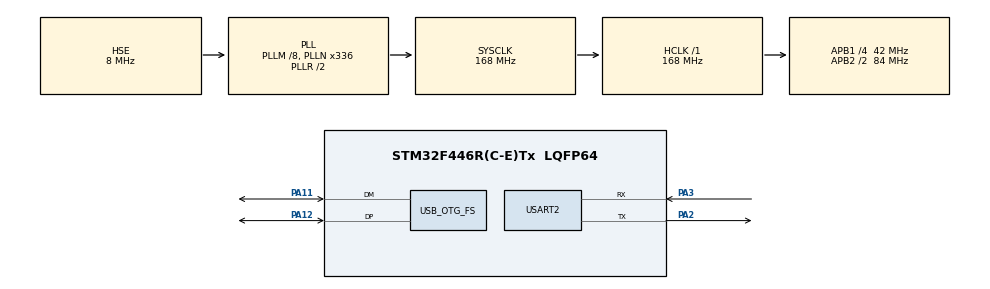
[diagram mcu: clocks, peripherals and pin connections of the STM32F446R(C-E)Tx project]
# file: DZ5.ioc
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Mcu.Family=STM32F4
Mcu.Name=STM32F446R(C-E)Tx
Mcu.Package=LQFP64
NVIC.OTG_FS_IRQn=true\:0\:0\:false\:false\:true\:false\:true\:true
NVIC.PriorityGroup=NVIC_PRIORITYGROUP_4
NVIC.USART2_IRQn=true\:0\:0\:false\:false\:true\:true\:true\:true
PA11.Mode=Device_Only
PA11.Signal=USB_OTG_FS_DM
PA12.Mode=Device_Only
PA12.Signal=USB_OTG_FS_DP
PA13.Mode=Serial_Wire
PA13.Signal=SYS_JTMS-SWDIO
PA14.Mode=Serial_Wire
PA14.Signal=SYS_JTCK-SWCLK
PA2.Mode=Asynchronous
PA2.Signal=USART2_TX
PA3.Mode=Asynchronous
PA3.Signal=USART2_RX
PH0-OSC_IN.Mode=HSE-External-Clock-Source
PH0-OSC_IN.Signal=RCC_OSC_IN
PH1-OSC_OUT.Mode=HSE-External-Clock-Source
PH1-OSC_OUT.Signal=RCC_OSC_OUT
ProjectManager.HeapSize=0x200
ProjectManager.StackSize=0x400
ProjectManager.TargetToolchain=STM32CubeIDE
RCC.AHBFreq_Value=168000000
RCC.APB1CLKDivider=RCC_HCLK_DIV4
RCC.APB1Freq_Value=42000000
RCC.APB1TimFreq_Value=84000000
RCC.APB2CLKDivider=RCC_HCLK_DIV2
RCC.APB2Freq_Value=84000000
RCC.APB2TimFreq_Value=168000000
RCC.CortexFreq_Value=168000000
RCC.HCLKFreq_Value=168000000
RCC.HSE_VALUE=8000000
RCC.PLLM=8
RCC.PLLN=336
RCC.PLLQ=7
RCC.PLLSourceVirtual=RCC_PLLSOURCE_HSE
RCC.SYSCLKFreq_VALUE=168000000
RCC.SYSCLKSource=RCC_SYSCLKSOURCE_PLLRCLK
RCC.USBFreq_Value=48000000
RCC.VCOOutputFreq_Value=336000000
USART2.VirtualMode=VM_ASYNC
USB_DEVICE.CLASS_NAME_FS=CDC
USB_DEVICE.MANUFACTURER_STRING-CDC_FS=Nechitaylov Labs
USB_DEVICE.PID_CDC_FS=1488
USB_DEVICE.VirtualMode-CDC_FS=Cdc
USB_DEVICE.VirtualModeFS=Cdc_FS
USB_OTG_FS.VirtualMode=Device_Only
VP_USB_DEVICE_VS_USB_DEVICE_CDC_FS.Mode=CDC_FS
board=custom

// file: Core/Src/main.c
/* USER CODE BEGIN Header */
/**
  ******************************************************************************
  * @file           : main.c
  * @brief          : Main program body
  ******************************************************************************
  * @attention
  *
  * Copyright (c) 2026 STMicroelectronics.
  * All rights reserved.
  *
  * This software is licensed under terms that can be found in the LICENSE file
  * in the root directory of this software component.
  * If no LICENSE file comes with this software, it is provided AS-IS.
  *
  ******************************************************************************
  */
/* USER CODE END Header */
#include "main.h"
#include "usb_device.h"

/* USER CODE BEGIN Includes */
#include "usbd_cdc_if.h"
/* USER CODE END Includes */

UART_HandleTypeDef huart2;

void SystemClock_Config(void);
static void MX_GPIO_Init(void);
static void MX_USART2_UART_Init(void);
/* USER CODE BEGIN PFP */

uint8_t ParseRxBuffer();
uint8_t GetBytes(uint32_t addr, uint8_t length, char* bytesBuf);
void ConvertToIntelHex(uint32_t addr, uint8_t readLength);
uint8_t calcCrc(char* str, uint8_t length);

/* USER CODE END PFP */

/* USER CODE BEGIN 0 */
char rx_buffer [128];
volatile uint8_t rx_complete = 0;

char cmd[10];
uint32_t addr = 0;
uint8_t length= 0;

static const char* hex = "0123456789ABCDEF";

/* USER CODE END 0 */

int main(void)
{

  /* MCU Configuration--------------------------------------------------------*/

  /* Reset of all peripherals, Initializes the Flash interface and the Systick. */
  HAL_Init();

  /* Configure the system clock */
  SystemClock_Config();

  /* Initialize all configured peripherals */
  MX_GPIO_Init();
  MX_USART2_UART_Init();
  MX_USB_DEVICE_Init();

  /* Infinite loop */
  /* USER CODE BEGIN WHILE */

  while (1)
  {
    if(rx_complete)
    {
      if (!ParseRxBuffer())
      {
	ConvertToIntelHex(addr, length);
      }

      rx_complete = 0;
      memset(rx_buffer, '\0', sizeof(rx_buffer));

    }
    /* USER CODE END WHILE */

  }
}

void SystemClock_Config(void)
{
  RCC_OscInitTypeDef RCC_OscInitStruct = {0};
  RCC_ClkInitTypeDef RCC_ClkInitStruct = {0};

  /** Configure the main internal regulator output voltage
  */
  __HAL_RCC_PWR_CLK_ENABLE();
  __HAL_PWR_VOLTAGESCALING_CONFIG(PWR_REGULATOR_VOLTAGE_SCALE1);

  /** Initializes the RCC Oscillators according to the specified parameters
  * in the RCC_OscInitTypeDef structure.
  */
  RCC_OscInitStruct.OscillatorType = RCC_OSCILLATORTYPE_HSE;
  RCC_OscInitStruct.HSEState = RCC_HSE_BYPASS;
  RCC_OscInitStruct.PLL.PLLState = RCC_PLL_ON;
  RCC_OscInitStruct.PLL.PLLSource = RCC_PLLSOURCE_HSE;
  RCC_OscInitStruct.PLL.PLLM = 8;
  RCC_OscInitStruct.PLL.PLLN = 336;
  RCC_OscInitStruct.PLL.PLLP = RCC_PLLP_DIV2;
  RCC_OscInitStruct.PLL.PLLQ = 7;
  RCC_OscInitStruct.PLL.PLLR = 2;
  if (HAL_RCC_OscConfig(&RCC_OscInitStruct) != HAL_OK)
  {
    Error_Handler();
  }

  /** Initializes the CPU, AHB and APB buses clocks
  */
  RCC_ClkInitStruct.ClockType = RCC_CLOCKTYPE_HCLK|RCC_CLOCKTYPE_SYSCLK
                              |RCC_CLOCKTYPE_PCLK1|RCC_CLOCKTYPE_PCLK2;
  RCC_ClkInitStruct.SYSCLKSource = RCC_SYSCLKSOURCE_PLLRCLK;
  RCC_ClkInitStruct.AHBCLKDivider = RCC_SYSCLK_DIV1;
  RCC_ClkInitStruct.APB1CLKDivider = RCC_HCLK_DIV4;
  RCC_ClkInitStruct.APB2CLKDivider = RCC_HCLK_DIV2;

  if (HAL_RCC_ClockConfig(&RCC_ClkInitStruct, FLASH_LATENCY_5) != HAL_OK)
  {
    Error_Handler();
  }
}

static void MX_USART2_UART_Init(void)
{

  huart2.Instance = USART2;
  huart2.Init.BaudRate = 115200;
  huart2.Init.WordLength = UART_WORDLENGTH_8B;
  huart2.Init.StopBits = UART_STOPBITS_1;
  huart2.Init.Parity = UART_PARITY_NONE;
  huart2.Init.Mode = UART_MODE_TX_RX;
  huart2.Init.HwFlowCtl = UART_HWCONTROL_NONE;
  huart2.Init.OverSampling = UART_OVERSAMPLING_16;
  if (HAL_UART_Init(&huart2) != HAL_OK)
  {
    Error_Handler();
  }

}

static void MX_GPIO_Init(void)
{

  /* GPIO Ports Clock Enable */
  __HAL_RCC_GPIOH_CLK_ENABLE();
  __HAL_RCC_GPIOA_CLK_ENABLE();

}

/* USER CODE BEGIN 4 */
uint8_t ParseRxBuffer()
{
	uint8_t parsed = sscanf(rx_buffer, "%7s %x %hhu", cmd, &addr, &length);

	if (parsed != 3)
		return -1;

	if (strcmp("get_hex", cmd))
		return -1;

	return 0;
}

uint8_t GetBytes(uint32_t addr, uint8_t length, char* bytesBuf)
{

    if (length > 16)
    	return -1;

    uint8_t* ptrAddr = (uint8_t*)addr;

    // Разбиваем Hex число на два символа ASCII
    for (int i=0; i<length; i++)
    {
        bytesBuf[i*2] = hex [ptrAddr[i] >> 4];
        bytesBuf[i*2+1] = hex [ptrAddr[i] & 0x0F];
    }

    return 1;
}

void ConvertToIntelHex(uint32_t addr, uint8_t length)
{
    char IntelStr[45] = {'\0'};
    char bytesBuf[33] = {'\0'};
    uint16_t lowAddr = addr & 0x0000FFFF;

    uint8_t usb_ts_status = 0;

    // Печатаем заголовок
    snprintf(IntelStr, sizeof(IntelStr), ":%8s%04x", "02000004", addr>>16);
    snprintf(IntelStr, sizeof(IntelStr), "%12s%02x\n", IntelStr, calcCrc(IntelStr, strlen(IntelStr)));
    CDC_Transmit_FS((uint8_t*)IntelStr, strlen(IntelStr));
    memset(IntelStr, '\0', sizeof(IntelStr));

    while (length)
    {
    	if (length >= 16)
    	{
    	    // Получаем число по адресу и переводим в ASCII
    	    GetBytes(addr, 16, bytesBuf);
    	    // Собираем Intel Hex без CRC
    	    snprintf(IntelStr, sizeof(IntelStr), ":%02x%04x00%s", 16, lowAddr, bytesBuf);
    	    // Добавялем CRC
    	    snprintf(IntelStr, sizeof(IntelStr), "%s%02x\n", IntelStr, calcCrc(IntelStr, strlen(IntelStr)));
    	    // Двигаемся по адресу дальше
    	    addr = addr + 16;
    	    lowAddr = addr & 0x0000FFFF;
    	    length = length - 16;
    	}
    	else
    	{
    	    // Получаем число по адресу и переводим в ASCII
    	    GetBytes(addr, length, bytesBuf);
    	    // Собираем Intel Hex без CRC
    	    snprintf(IntelStr, sizeof(IntelStr), ":%02x%04x00%s", length, lowAddr, bytesBuf);
    	    // Добавялем CRC
    	    snprintf(IntelStr, sizeof(IntelStr), "%s%02x\n", IntelStr, calcCrc(IntelStr, strlen(IntelStr)));
    	    // Двигаемся по адресу дальше
    	    addr = addr + length;
    	    lowAddr = addr & 0x0000FFFF;
    	    length = 0;
    	}

    	    do
    	    {
    		usb_ts_status = CDC_Transmit_FS((uint8_t*)IntelStr, strlen(IntelStr));
    	    } while (usb_ts_status == USBD_BUSY);

	    memset(bytesBuf, '\0', sizeof(bytesBuf));
	    memset(IntelStr, '\0', sizeof(IntelStr));
    }
    do
    {
	usb_ts_status = CDC_Transmit_FS((uint8_t*)":00000001FF", 11);
    } while (usb_ts_status == USBD_BUSY);
}

uint8_t calcCrc(char* str, uint8_t length)
{
    char tmp[3];
    tmp [2] = '\0';
    uint32_t sum = 0;
    uint8_t hex = 0;

    for (int i = 1; i < length; i+=2)
    {
        tmp[0] = str[i];
        tmp[1] = str[i+1];

        sscanf(tmp, "%2x", &hex);
        sum += hex;
    }

    return (uint8_t)(0-sum);
}

/* USER CODE END 4 */

void Error_Handler(void)
{
  __disable_irq();
  while (1)
  {
  }
}
